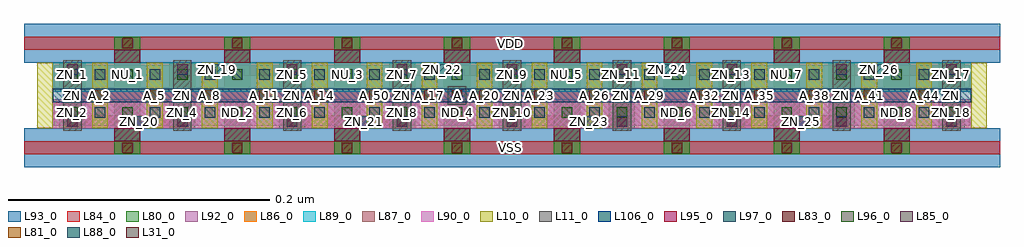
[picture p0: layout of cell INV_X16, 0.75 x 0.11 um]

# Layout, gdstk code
import gdstk
lib = gdstk.Library(unit=1e-6, precision=1e-09)
def R(c, l, rs):  # rectangles x0, y0, x1, y1
    for r in rs: c.add(gdstk.rectangle(r[:2], r[2:], *l))
def A(c, l, x, y, w, h, nx, ny, dx, dy):  # array of equal rectangles
    R(c, l, [(x+i*dx, y+j*dy, x+i*dx+w, y+j*dy+h) for i in range(nx) for j in range(ny)])
L10_0 = (10, 0)
L11_0 = (11, 0)
L31_0 = (31, 0)
L80_0 = (80, 0)
L81_0 = (81, 0)
L83_0 = (83, 0)
L84_0 = (84, 0)
L85_0 = (85, 0)
L86_0 = (86, 0)
L87_0 = (87, 0)
L88_0 = (88, 0)
L89_0 = (89, 0)
L90_0 = (90, 0)
L92_0 = (92, 0)
L93_0 = (93, 0)
L95_0 = (95, 0)
L96_0 = (96, 0)
L97_0 = (97, 0)
L106_0 = (106, 0)

inv_x16 = lib.new_cell('INV_X16')
A(inv_x16, L10_0, -0.027, 0.015, 0.012, 0.05, 18, 1, 0.042, 0)
A(inv_x16, L11_0, -0.007, 0.013, 0.014, 0.034, 9, 2, 0.084, 0.02)
R(inv_x16, L11_0, [(0.287,0.033,0.301,0.047)])
A(inv_x16, L31_0, -0.004, 0.036, 0.008, 0.008, 4, 1, 0.084, 0)
A(inv_x16, L31_0, 0.332, 0.036, 0.008, 0.008, 5, 1, 0.084, 0)
R(inv_x16, L31_0, [(0.29,0.036,0.298,0.044)])
A(inv_x16, L80_0, 0.032, -0.005, 0.02, 0.021, 8, 1, 0.084, 0)
A(inv_x16, L80_0, -0.01, 0.015, 0.02, 0.02, 17, 1, 0.042, 0)
A(inv_x16, L80_0, 0.032, 0.056, 0.02, 0.029, 8, 1, 0.084, 0)
R(inv_x16, L80_0, [(-0.01,0.045,0.01,0.065), (-0.01,0.045,0.01,0.065), (0.032,0.045,0.052,0.065), (0.032,0.045,0.052,0.065), (0.074,0.045,0.094,0.065), (0.074,0.045,0.094,0.065), (0.116,0.045,0.136,0.065), (0.116,0.045,0.136,0.065), (0.158,0.045,0.178,0.065), (0.158,0.045,0.178,0.065), (0.2,0.045,0.22,0.065), (0.2,0.045,0.22,0.065), (0.242,0.045,0.262,0.065), (0.242,0.045,0.262,0.065), (0.284,0.045,0.304,0.065), (0.284,0.045,0.304,0.065), (0.326,0.045,0.346,0.065), (0.326,0.045,0.346,0.065), (0.368,0.045,0.388,0.065), (0.368,0.045,0.388,0.065), (0.41,0.045,0.43,0.065), (0.41,0.045,0.43,0.065), (0.452,0.045,0.472,0.065), (0.452,0.045,0.472,0.065), (0.494,0.045,0.514,0.065), (0.494,0.045,0.514,0.065), (0.536,0.045,0.556,0.065), (0.536,0.045,0.556,0.065), (0.578,0.045,0.598,0.065), (0.578,0.045,0.598,0.065), (0.62,0.045,0.64,0.065), (0.62,0.045,0.64,0.065), (0.662,0.045,0.682,0.065), (0.662,0.045,0.682,0.065)])
A(inv_x16, L81_0, 0.017, 0.036, 0.008, 0.008, 16, 1, 0.042, 0)
A(inv_x16, L83_0, 0.038, -0.004, 0.008, 0.008, 8, 2, 0.084, 0.08)
A(inv_x16, L83_0, -0.004, 0.016, 0.008, 0.008, 9, 2, 0.084, 0.04)
A(inv_x16, L84_0, -0.005, 0.015, 0.031, 0.01, 4, 1, 0.021, 0)
A(inv_x16, L84_0, 0.163, 0.015, 0.031, 0.01, 4, 1, 0.021, 0)
A(inv_x16, L84_0, 0.331, 0.015, 0.031, 0.01, 4, 1, 0.021, 0)
A(inv_x16, L84_0, 0.499, 0.015, 0.031, 0.01, 4, 1, 0.021, 0)
A(inv_x16, L84_0, 0.037, 0.035, 0.031, 0.01, 29, 1, 0.021, 0)
A(inv_x16, L84_0, 0.079, 0.055, 0.031, 0.01, 4, 1, 0.021, 0)
A(inv_x16, L84_0, 0.247, 0.055, 0.031, 0.01, 4, 1, 0.021, 0)
A(inv_x16, L84_0, 0.415, 0.055, 0.031, 0.01, 4, 1, 0.021, 0)
A(inv_x16, L84_0, 0.583, 0.055, 0.031, 0.01, 4, 1, 0.021, 0)
R(inv_x16, L84_0, [(-0.037,-0.005,0.709,0.005), (0.667,0.015,0.677,0.025), (-0.006,0.035,0.047,0.045), (-0.005,0.055,0.005,0.065), (-0.037,0.075,0.709,0.085)])
A(inv_x16, L85_0, -0.004, 0.016, 0.008, 0.008, 9, 2, 0.084, 0.04)
R(inv_x16, L85_0, [(0.29,0.036,0.298,0.044)])
R(inv_x16, L86_0, [(-0.015,0.043,0.687,0.065)])
R(inv_x16, L87_0, [(-0.015,0.015,0.687,0.037)])
A(inv_x16, L88_0, 0.047, 0.016, 0.008, 0.008, 3, 1, 0.172, 0)
A(inv_x16, L88_0, 0.107, 0.056, 0.008, 0.008, 3, 1, 0.172, 0)
R(inv_x16, L88_0, [(0.331,-0.004,0.339,0.004), (0.553,0.016,0.561,0.024), (0.613,0.056,0.621,0.064), (0.331,0.076,0.339,0.084)])
R(inv_x16, L89_0, [(-0.015,0.043,0.687,0.065)])
R(inv_x16, L90_0, [(-0.015,0.015,0.687,0.037)])
R(inv_x16, L92_0, [(-0.014,0.017,0.686,0.035), (-0.014,0.045,0.686,0.063)])
R(inv_x16, L93_0, [(-0.037,-0.015,0.709,0.015), (-0.037,0.065,0.709,0.095)])
A(inv_x16, L95_0, 0.032, 0.005, 0.02, 0.01, 8, 2, 0.084, 0.06)
A(inv_x16, L96_0, -0.004, 0.023, 0.008, 0.008, 17, 2, 0.042, 0.029)
A(inv_x16, L97_0, 0.017, 0.023, 0.008, 0.008, 16, 2, 0.042, 0.013)
A(inv_x16, L97_0, 0.017, 0.052, 0.008, 0.008, 16, 1, 0.042, 0)
R(inv_x16, L106_0, [(-0.015,0.035,0.687,0.045)])
inv_x16.add(gdstk.Label('ZN_26', (0.617,0.06), layer=88, texttype=0))
inv_x16.add(gdstk.Label('ZN_25', (0.557,0.02), layer=88, texttype=0))
inv_x16.add(gdstk.Label('ZN_24', (0.455,0.06), layer=88, texttype=0))
inv_x16.add(gdstk.Label('ZN_23', (0.395,0.02), layer=88, texttype=0))
inv_x16.add(gdstk.Label('ZN_21', (0.223,0.02), layer=88, texttype=0))
inv_x16.add(gdstk.Label('ZN_22', (0.283,0.06), layer=88, texttype=0))
inv_x16.add(gdstk.Label('ZN_19', (0.111,0.06), layer=88, texttype=0))
inv_x16.add(gdstk.Label('ZN_20', (0.051,0.02), layer=88, texttype=0))
inv_x16.add(gdstk.Label('VSS', (0.335,0), layer=88, texttype=0))
inv_x16.add(gdstk.Label('VDD', (0.335,0.08), layer=88, texttype=0))
inv_x16.add(gdstk.Label('ND_3', (0.21,0.027), layer=96, texttype=0))
inv_x16.add(gdstk.Label('ND_4', (0.294,0.027), layer=96, texttype=0))
inv_x16.add(gdstk.Label('ZN_10', (0.336,0.027), layer=96, texttype=0))
inv_x16.add(gdstk.Label('ZN_6', (0.168,0.027), layer=96, texttype=0))
inv_x16.add(gdstk.Label('ZN_4', (0.084,0.027), layer=96, texttype=0))
inv_x16.add(gdstk.Label('ND_2', (0.126,0.027), layer=96, texttype=0))
inv_x16.add(gdstk.Label('ND_1', (0.042,0.027), layer=96, texttype=0))
inv_x16.add(gdstk.Label('ZN_2', (0,0.027), layer=96, texttype=0))
inv_x16.add(gdstk.Label('ND_5', (0.378,0.027), layer=96, texttype=0))
inv_x16.add(gdstk.Label('ZN_12', (0.42,0.027), layer=96, texttype=0))
inv_x16.add(gdstk.Label('ND_6', (0.462,0.027), layer=96, texttype=0))
inv_x16.add(gdstk.Label('ND_7', (0.546,0.027), layer=96, texttype=0))
inv_x16.add(gdstk.Label('ZN_14', (0.504,0.027), layer=96, texttype=0))
inv_x16.add(gdstk.Label('ZN_16', (0.588,0.027), layer=96, texttype=0))
inv_x16.add(gdstk.Label('ZN_8', (0.252,0.027), layer=96, texttype=0))
inv_x16.add(gdstk.Label('ZN_18', (0.672,0.027), layer=96, texttype=0))
inv_x16.add(gdstk.Label('ND_8', (0.63,0.027), layer=96, texttype=0))
inv_x16.add(gdstk.Label('NU_4', (0.294,0.056), layer=96, texttype=0))
inv_x16.add(gdstk.Label('ZN_9', (0.336,0.056), layer=96, texttype=0))
inv_x16.add(gdstk.Label('NU_3', (0.21,0.056), layer=96, texttype=0))
inv_x16.add(gdstk.Label('ZN_7', (0.252,0.056), layer=96, texttype=0))
inv_x16.add(gdstk.Label('NU_2', (0.126,0.056), layer=96, texttype=0))
inv_x16.add(gdstk.Label('ZN_5', (0.168,0.056), layer=96, texttype=0))
inv_x16.add(gdstk.Label('ZN_3', (0.084,0.056), layer=96, texttype=0))
inv_x16.add(gdstk.Label('NU_1', (0.042,0.056), layer=96, texttype=0))
inv_x16.add(gdstk.Label('ZN_1', (0,0.056), layer=96, texttype=0))
inv_x16.add(gdstk.Label('NU_5', (0.378,0.056), layer=96, texttype=0))
inv_x16.add(gdstk.Label('ZN_11', (0.42,0.056), layer=96, texttype=0))
inv_x16.add(gdstk.Label('NU_6', (0.462,0.056), layer=96, texttype=0))
inv_x16.add(gdstk.Label('NU_7', (0.546,0.056), layer=96, texttype=0))
inv_x16.add(gdstk.Label('ZN_13', (0.504,0.056), layer=96, texttype=0))
inv_x16.add(gdstk.Label('NU_8', (0.63,0.056), layer=96, texttype=0))
inv_x16.add(gdstk.Label('ZN_15', (0.588,0.056), layer=96, texttype=0))
inv_x16.add(gdstk.Label('ZN_17', (0.672,0.056), layer=96, texttype=0))
inv_x16.add(gdstk.Label('A_15', (0.189,0.027), layer=97, texttype=0))
inv_x16.add(gdstk.Label('A_14', (0.189,0.04), layer=97, texttype=0))
inv_x16.add(gdstk.Label('A_13', (0.189,0.056), layer=97, texttype=0))
inv_x16.add(gdstk.Label('A_51', (0.231,0.027), layer=97, texttype=0))
inv_x16.add(gdstk.Label('A_50', (0.231,0.04), layer=97, texttype=0))
inv_x16.add(gdstk.Label('A_49', (0.231,0.056), layer=97, texttype=0))
inv_x16.add(gdstk.Label('A_19', (0.315,0.056), layer=97, texttype=0))
inv_x16.add(gdstk.Label('A_20', (0.315,0.04), layer=97, texttype=0))
inv_x16.add(gdstk.Label('A_21', (0.315,0.027), layer=97, texttype=0))
inv_x16.add(gdstk.Label('A_16', (0.273,0.056), layer=97, texttype=0))
inv_x16.add(gdstk.Label('A_24', (0.357,0.027), layer=97, texttype=0))
inv_x16.add(gdstk.Label('A_23', (0.357,0.04), layer=97, texttype=0))
inv_x16.add(gdstk.Label('A_22', (0.357,0.056), layer=97, texttype=0))
inv_x16.add(gdstk.Label('A_27', (0.399,0.027), layer=97, texttype=0))
inv_x16.add(gdstk.Label('A_26', (0.399,0.04), layer=97, texttype=0))
inv_x16.add(gdstk.Label('A_25', (0.399,0.056), layer=97, texttype=0))
inv_x16.add(gdstk.Label('A_31', (0.483,0.056), layer=97, texttype=0))
inv_x16.add(gdstk.Label('A_32', (0.483,0.04), layer=97, texttype=0))
inv_x16.add(gdstk.Label('A_33', (0.483,0.027), layer=97, texttype=0))
inv_x16.add(gdstk.Label('A_28', (0.441,0.056), layer=97, texttype=0))
inv_x16.add(gdstk.Label('A_29', (0.441,0.04), layer=97, texttype=0))
inv_x16.add(gdstk.Label('A_30', (0.441,0.027), layer=97, texttype=0))
inv_x16.add(gdstk.Label('A_42', (0.609,0.027), layer=97, texttype=0))
inv_x16.add(gdstk.Label('A_41', (0.609,0.04), layer=97, texttype=0))
inv_x16.add(gdstk.Label('A_40', (0.609,0.056), layer=97, texttype=0))
inv_x16.add(gdstk.Label('A_45', (0.651,0.027), layer=97, texttype=0))
inv_x16.add(gdstk.Label('A_44', (0.651,0.04), layer=97, texttype=0))
inv_x16.add(gdstk.Label('A_43', (0.651,0.056), layer=97, texttype=0))
inv_x16.add(gdstk.Label('A_37', (0.567,0.056), layer=97, texttype=0))
inv_x16.add(gdstk.Label('A_38', (0.567,0.04), layer=97, texttype=0))
inv_x16.add(gdstk.Label('A_39', (0.567,0.027), layer=97, texttype=0))
inv_x16.add(gdstk.Label('A_34', (0.525,0.056), layer=97, texttype=0))
inv_x16.add(gdstk.Label('A_35', (0.525,0.04), layer=97, texttype=0))
inv_x16.add(gdstk.Label('A_36', (0.525,0.027), layer=97, texttype=0))
inv_x16.add(gdstk.Label('A_3', (0.021,0.027), layer=97, texttype=0))
inv_x16.add(gdstk.Label('A_2', (0.021,0.04), layer=97, texttype=0))
inv_x16.add(gdstk.Label('A_1', (0.021,0.056), layer=97, texttype=0))
inv_x16.add(gdstk.Label('A_6', (0.063,0.027), layer=97, texttype=0))
inv_x16.add(gdstk.Label('A_5', (0.063,0.04), layer=97, texttype=0))
inv_x16.add(gdstk.Label('A_4', (0.063,0.056), layer=97, texttype=0))
inv_x16.add(gdstk.Label('A_10', (0.147,0.056), layer=97, texttype=0))
inv_x16.add(gdstk.Label('A_11', (0.147,0.04), layer=97, texttype=0))
inv_x16.add(gdstk.Label('A_12', (0.147,0.027), layer=97, texttype=0))
inv_x16.add(gdstk.Label('A_7', (0.105,0.056), layer=97, texttype=0))
inv_x16.add(gdstk.Label('A_8', (0.105,0.04), layer=97, texttype=0))
inv_x16.add(gdstk.Label('A_9', (0.105,0.027), layer=97, texttype=0))
inv_x16.add(gdstk.Label('A_18', (0.273,0.027), layer=97, texttype=0))
inv_x16.add(gdstk.Label('A_17', (0.273,0.04), layer=97, texttype=0))
inv_x16.add(gdstk.Label('A', (0.294,0.04), layer=31, texttype=0))
inv_x16.add(gdstk.Label('ZN', (0.672,0.04), layer=31, texttype=0))
inv_x16.add(gdstk.Label('ZN', (0.42,0.04), layer=31, texttype=0))
inv_x16.add(gdstk.Label('ZN', (0.336,0.04), layer=31, texttype=0))
inv_x16.add(gdstk.Label('ZN', (0.504,0.04), layer=31, texttype=0))
inv_x16.add(gdstk.Label('ZN', (0.588,0.04), layer=31, texttype=0))
inv_x16.add(gdstk.Label('ZN', (0.252,0.04), layer=31, texttype=0))
inv_x16.add(gdstk.Label('ZN', (0.168,0.04), layer=31, texttype=0))
inv_x16.add(gdstk.Label('ZN', (0,0.04), layer=31, texttype=0))
inv_x16.add(gdstk.Label('ZN', (0.084,0.04), layer=31, texttype=0))

lib.write_gds('INV_X16.gds')
